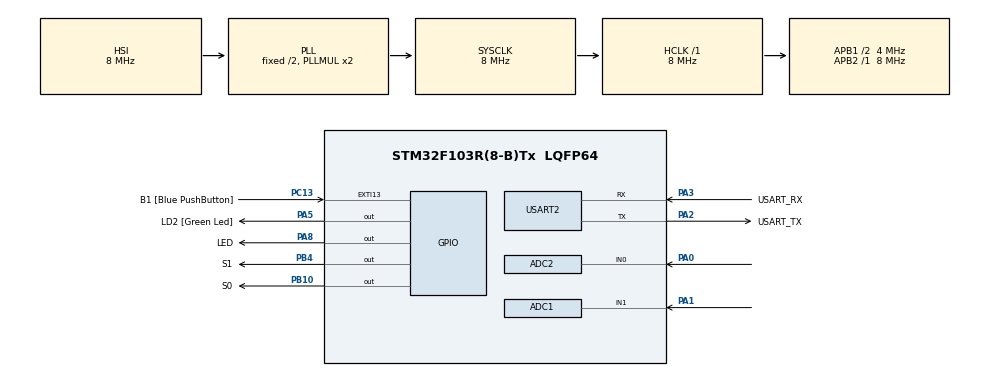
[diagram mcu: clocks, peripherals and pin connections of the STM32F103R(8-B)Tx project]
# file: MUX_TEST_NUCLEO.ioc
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ADC1.Channel-1\#ChannelRegularConversion=ADC_CHANNEL_1
ADC1.NbrOfConversionFlag=1
ADC1.Rank-1\#ChannelRegularConversion=1
ADC1.SamplingTime-1\#ChannelRegularConversion=ADC_SAMPLETIME_239CYCLES_5
ADC1.master=1
ADC2.Channel-1\#ChannelRegularConversion=ADC_CHANNEL_0
ADC2.NbrOfConversionFlag=1
ADC2.Rank-1\#ChannelRegularConversion=1
ADC2.SamplingTime-1\#ChannelRegularConversion=ADC_SAMPLETIME_1CYCLE_5
Mcu.Family=STM32F1
Mcu.Name=STM32F103R(8-B)Tx
Mcu.Package=LQFP64
NVIC.EXTI15_10_IRQn=true\:0\:0\:false\:false\:true\:true\:true\:true
NVIC.PriorityGroup=NVIC_PRIORITYGROUP_4
PA0-WKUP.Signal=ADCx_IN0
PA1.Signal=ADCx_IN1
PA13.GPIO_Label=TMS
PA13.Mode=Serial_Wire
PA13.Signal=SYS_JTMS-SWDIO
PA14.GPIO_Label=TCK
PA14.Mode=Serial_Wire
PA14.Signal=SYS_JTCK-SWCLK
PA2.GPIO_Label=USART_TX
PA2.GPIO_Mode=GPIO_MODE_AF_PP
PA2.GPIO_PuPd=GPIO_NOPULL
PA2.GPIO_Speed=GPIO_SPEED_FREQ_LOW
PA2.Mode=Asynchronous
PA2.Signal=USART2_TX
PA3.GPIO_Label=USART_RX
PA3.GPIO_Mode=GPIO_MODE_AF_PP
PA3.GPIO_PuPd=GPIO_NOPULL
PA3.GPIO_Speed=GPIO_SPEED_FREQ_LOW
PA3.Mode=Asynchronous
PA3.Signal=USART2_RX
PA5.GPIO_Label=LD2 [Green Led]
PA5.GPIO_ModeDefaultOutputPP=GPIO_MODE_OUTPUT_PP
PA5.GPIO_PuPd=GPIO_NOPULL
PA5.GPIO_Speed=GPIO_SPEED_FREQ_LOW
PA5.Signal=GPIO_Output
PA8.GPIO_Label=LED
PA8.Signal=GPIO_Output
PB10.GPIO_Label=S0
PB10.GPIO_PuPd=GPIO_PULLDOWN
PB10.GPIO_Speed=GPIO_SPEED_FREQ_MEDIUM
PB10.Signal=GPIO_Output
PB3.GPIO_Label=SWO
PB3.Signal=SYS_JTDO-TRACESWO
PB4.GPIO_Label=S1
PB4.GPIO_PuPd=GPIO_PULLDOWN
PB4.GPIO_Speed=GPIO_SPEED_FREQ_MEDIUM
PB4.Signal=GPIO_Output
PC13-TAMPER-RTC.GPIO_Label=B1 [Blue PushButton]
PC13-TAMPER-RTC.GPIO_PuPd=GPIO_NOPULL
PC13-TAMPER-RTC.Signal=GPXTI13
PC14-OSC32_IN.Mode=LSE-External-Oscillator
PC14-OSC32_IN.Signal=RCC_OSC32_IN
PC15-OSC32_OUT.Mode=LSE-External-Oscillator
PC15-OSC32_OUT.Signal=RCC_OSC32_OUT
PD0-OSC_IN.Mode=HSE-External-Clock-Source
PD0-OSC_IN.Signal=RCC_OSC_IN
PD1-OSC_OUT.Mode=HSE-External-Clock-Source
PD1-OSC_OUT.Signal=RCC_OSC_OUT
ProjectManager.HeapSize=0x200
ProjectManager.StackSize=0x400
ProjectManager.TargetToolchain=STM32CubeIDE
RCC.AHBFreq_Value=8000000
RCC.APB1CLKDivider=RCC_HCLK_DIV2
RCC.APB1Freq_Value=4000000
RCC.APB1TimFreq_Value=8000000
RCC.APB2Freq_Value=8000000
RCC.APB2TimFreq_Value=8000000
RCC.HCLKFreq_Value=8000000
RCC.RTCClockSelection=RCC_RTCCLKSOURCE_LSE
RCC.SYSCLKFreq_VALUE=8000000
RCC.SYSCLKSource=RCC_SYSCLKSOURCE_PLLCLK
RCC.USBFreq_Value=8000000
SH.ADCx_IN0.0=ADC2_IN0,IN0
SH.ADCx_IN1.0=ADC1_IN1,IN1
USART2.VirtualMode=VM_ASYNC
board=NUCLEO-F103RB

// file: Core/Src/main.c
/* USER CODE BEGIN Header */
/**
  ******************************************************************************
  * @file           : main.c
  * @brief          : Main program body
  ******************************************************************************
  * @attention
  *
  * Copyright (c) 2024 STMicroelectronics.
  * All rights reserved.
  *
  * This software is licensed under terms that can be found in the LICENSE file
  * in the root directory of this software component.
  * If no LICENSE file comes with this software, it is provided AS-IS.
  *
  ******************************************************************************
  */
/* USER CODE END Header */
#include "main.h"
#include <math.h>

ADC_HandleTypeDef hadc1;
ADC_HandleTypeDef hadc2;

UART_HandleTypeDef huart2;

/* USER CODE BEGIN PV */

uint16_t nOfMUX = 2;	// número de multiplexadores
uint16_t MUX_Read[nOfMUX];	// array com a leitura dos multiplexadores

uint16_t nOfInputs = 4; 	// número de inputs por multiplexador
uint16_t nOfSeletores = ceil(sqrt(nOfInputs));	//	número de pinos seletores por MUX
char binary_array[nOfSeletores];	//array com a "tradução" da entrada selecionada (decimal) para uma char[] de base dois

/* USER CODE END PV */

void SystemClock_Config(void);
static void MX_GPIO_Init(void);
static void MX_USART2_UART_Init(void);
static void MX_ADC1_Init(void);
static void MX_ADC2_Init(void);

/* USER CODE BEGIN 0 */

/*
 *
 *	parte do próximo bloco de código foi gerado pelo CHAT GPT.
 *	NSCESSÁRIO REALIZAR TESTES ANTES DE CONFIAR!
 *
 */
void int_to_binary_array(int num, char *binary_array, int size) {

    // Iterate over each bit from left to right
    for (int i = size - 1; i >= 0; i--) {
        binary_array[i] = (num & 1) ? '1' : '0'; // Store '1' if the bit is set, '0' otherwise
        num >>= 1; // Right shift the number to move to the next bit
    }

}
/*
 *
 * até aqui
 *
 */

/* USER CODE END 0 */

int main(void)
{
  /* USER CODE BEGIN 1 */

	uint16_t selection = 0;

  /* USER CODE END 1 */

  /* MCU Configuration--------------------------------------------------------*/

  /* Reset of all peripherals, Initializes the Flash interface and the Systick. */
  HAL_Init();

  /* Configure the system clock */
  SystemClock_Config();

  /* Initialize all configured peripherals */
  MX_GPIO_Init();
  MX_USART2_UART_Init();
  MX_ADC1_Init();
  MX_ADC2_Init();
  /* USER CODE BEGIN 2 */

  uint16_t * seletoresPinos[nOfSeletores] = {S0_Pin, S1_Pin};
  GPIO_TypeDef * seletoresGPIOS[nOfSeletores] = {S0_GPIO_Port, S1_GPIO_Port};

  /* USER CODE END 2 */

  /* Infinite loop */
  while (1)
  {

    /* USER CODE BEGIN 3 */

	  //	SELECIONA

	  if((selector+1) > nOfMUX)	selector = 0;
	  int_to_binary_array(selector, binary_array, sizeOf(binary_array));	//muda base	(armazena em binary_array)
	  //ativa/desativa seletores
	  int buff;
	  for(int i; i <= sizeOf(binary_array); i++){

	  }

	  //	LÊ

	  //	PROCESSA

	  //	MANDA

	  HAL_ADC_Start(&hadc1);  //tinha esquecido

	  HAL_ADC_Start(&hadc2);

	  HAL_GPIO_WritePin(S0_GPIO_Port, S0_Pin, GPIO_PIN_SET);
	  HAL_GPIO_WritePin(S1_GPIO_Port, S1_Pin, GPIO_PIN_RESET);

	  HAL_ADC_PollForConversion(&hadc1, 1000);
	  MUX01_Read = HAL_ADC_GetValue(&hadc1);

	  HAL_Delay(200);

	  HAL_ADC_PollForConversion(&hadc2, 1000);
	  MUX02_Read = HAL_ADC_GetValue(&hadc2);

	  HAL_Delay(200);

  }
  /* USER CODE END 3 */
}

void SystemClock_Config(void)
{
  RCC_OscInitTypeDef RCC_OscInitStruct = {0};
  RCC_ClkInitTypeDef RCC_ClkInitStruct = {0};
  RCC_PeriphCLKInitTypeDef PeriphClkInit = {0};

  /** Initializes the RCC Oscillators according to the specified parameters
  * in the RCC_OscInitTypeDef structure.
  */
  RCC_OscInitStruct.OscillatorType = RCC_OSCILLATORTYPE_HSI;
  RCC_OscInitStruct.HSIState = RCC_HSI_ON;
  RCC_OscInitStruct.HSICalibrationValue = RCC_HSICALIBRATION_DEFAULT;
  RCC_OscInitStruct.PLL.PLLState = RCC_PLL_ON;
  RCC_OscInitStruct.PLL.PLLSource = RCC_PLLSOURCE_HSI_DIV2;
  RCC_OscInitStruct.PLL.PLLMUL = RCC_PLL_MUL2;
  if (HAL_RCC_OscConfig(&RCC_OscInitStruct) != HAL_OK)
  {
    Error_Handler();
  }

  /** Initializes the CPU, AHB and APB buses clocks
  */
  RCC_ClkInitStruct.ClockType = RCC_CLOCKTYPE_HCLK|RCC_CLOCKTYPE_SYSCLK
                              |RCC_CLOCKTYPE_PCLK1|RCC_CLOCKTYPE_PCLK2;
  RCC_ClkInitStruct.SYSCLKSource = RCC_SYSCLKSOURCE_PLLCLK;
  RCC_ClkInitStruct.AHBCLKDivider = RCC_SYSCLK_DIV1;
  RCC_ClkInitStruct.APB1CLKDivider = RCC_HCLK_DIV2;
  RCC_ClkInitStruct.APB2CLKDivider = RCC_HCLK_DIV1;

  if (HAL_RCC_ClockConfig(&RCC_ClkInitStruct, FLASH_LATENCY_0) != HAL_OK)
  {
    Error_Handler();
  }
  PeriphClkInit.PeriphClockSelection = RCC_PERIPHCLK_ADC;
  PeriphClkInit.AdcClockSelection = RCC_ADCPCLK2_DIV2;
  if (HAL_RCCEx_PeriphCLKConfig(&PeriphClkInit) != HAL_OK)
  {
    Error_Handler();
  }
}

static void MX_ADC1_Init(void)
{

  ADC_ChannelConfTypeDef sConfig = {0};

  /** Common config
  */
  hadc1.Instance = ADC1;
  hadc1.Init.ScanConvMode = ADC_SCAN_DISABLE;
  hadc1.Init.ContinuousConvMode = DISABLE;
  hadc1.Init.DiscontinuousConvMode = DISABLE;
  hadc1.Init.ExternalTrigConv = ADC_SOFTWARE_START;
  hadc1.Init.DataAlign = ADC_DATAALIGN_RIGHT;
  hadc1.Init.NbrOfConversion = 1;
  if (HAL_ADC_Init(&hadc1) != HAL_OK)
  {
    Error_Handler();
  }

  /** Configure Regular Channel
  */
  sConfig.Channel = ADC_CHANNEL_1;
  sConfig.Rank = ADC_REGULAR_RANK_1;
  sConfig.SamplingTime = ADC_SAMPLETIME_239CYCLES_5;
  if (HAL_ADC_ConfigChannel(&hadc1, &sConfig) != HAL_OK)
  {
    Error_Handler();
  }

}

static void MX_ADC2_Init(void)
{

  ADC_ChannelConfTypeDef sConfig = {0};

  /** Common config
  */
  hadc2.Instance = ADC2;
  hadc2.Init.ScanConvMode = ADC_SCAN_DISABLE;
  hadc2.Init.ContinuousConvMode = DISABLE;
  hadc2.Init.DiscontinuousConvMode = DISABLE;
  hadc2.Init.ExternalTrigConv = ADC_SOFTWARE_START;
  hadc2.Init.DataAlign = ADC_DATAALIGN_RIGHT;
  hadc2.Init.NbrOfConversion = 1;
  if (HAL_ADC_Init(&hadc2) != HAL_OK)
  {
    Error_Handler();
  }

  /** Configure Regular Channel
  */
  sConfig.Channel = ADC_CHANNEL_0;
  sConfig.Rank = ADC_REGULAR_RANK_1;
  sConfig.SamplingTime = ADC_SAMPLETIME_1CYCLE_5;
  if (HAL_ADC_ConfigChannel(&hadc2, &sConfig) != HAL_OK)
  {
    Error_Handler();
  }

}

static void MX_USART2_UART_Init(void)
{

  huart2.Instance = USART2;
  huart2.Init.BaudRate = 115200;
  huart2.Init.WordLength = UART_WORDLENGTH_8B;
  huart2.Init.StopBits = UART_STOPBITS_1;
  huart2.Init.Parity = UART_PARITY_NONE;
  huart2.Init.Mode = UART_MODE_TX_RX;
  huart2.Init.HwFlowCtl = UART_HWCONTROL_NONE;
  huart2.Init.OverSampling = UART_OVERSAMPLING_16;
  if (HAL_UART_Init(&huart2) != HAL_OK)
  {
    Error_Handler();
  }

}

static void MX_GPIO_Init(void)
{
  GPIO_InitTypeDef GPIO_InitStruct = {0};

  /* GPIO Ports Clock Enable */
  __HAL_RCC_GPIOC_CLK_ENABLE();
  __HAL_RCC_GPIOD_CLK_ENABLE();
  __HAL_RCC_GPIOA_CLK_ENABLE();
  __HAL_RCC_GPIOB_CLK_ENABLE();

  /*Configure GPIO pin Output Level */
  HAL_GPIO_WritePin(GPIOA, LD2_Pin|LED_Pin, GPIO_PIN_RESET);

  /*Configure GPIO pin Output Level */
  HAL_GPIO_WritePin(GPIOB, S0_Pin|S1_Pin, GPIO_PIN_RESET);

  /*Configure GPIO pin : B1_Pin */
  GPIO_InitStruct.Pin = B1_Pin;
  GPIO_InitStruct.Mode = GPIO_MODE_IT_RISING;
  GPIO_InitStruct.Pull = GPIO_NOPULL;
  HAL_GPIO_Init(B1_GPIO_Port, &GPIO_InitStruct);

  /*Configure GPIO pins : LD2_Pin LED_Pin */
  GPIO_InitStruct.Pin = LD2_Pin|LED_Pin;
  GPIO_InitStruct.Mode = GPIO_MODE_OUTPUT_PP;
  GPIO_InitStruct.Pull = GPIO_NOPULL;
  GPIO_InitStruct.Speed = GPIO_SPEED_FREQ_LOW;
  HAL_GPIO_Init(GPIOA, &GPIO_InitStruct);

  /*Configure GPIO pins : S0_Pin S1_Pin */
  GPIO_InitStruct.Pin = S0_Pin|S1_Pin;
  GPIO_InitStruct.Mode = GPIO_MODE_OUTPUT_PP;
  GPIO_InitStruct.Pull = GPIO_PULLDOWN;
  GPIO_InitStruct.Speed = GPIO_SPEED_FREQ_MEDIUM;
  HAL_GPIO_Init(GPIOB, &GPIO_InitStruct);

  /* EXTI interrupt init*/
  HAL_NVIC_SetPriority(EXTI15_10_IRQn, 0, 0);
  HAL_NVIC_EnableIRQ(EXTI15_10_IRQn);

}

void Error_Handler(void)
{
  __disable_irq();
  while (1)
  {
  }
}
